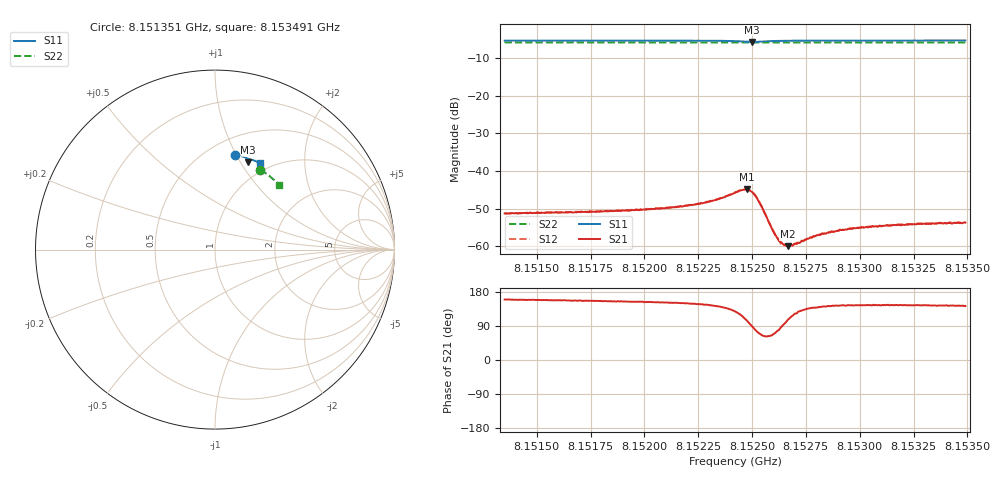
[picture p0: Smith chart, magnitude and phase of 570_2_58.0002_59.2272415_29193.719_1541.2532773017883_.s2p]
#  HZ  S  RI  R  50.00
! Rohde & Schwarz Vector Network Analyzer
! Rohde-Schwarz,ZNB20-2Port,1311601062101988,3.16
! Created: UTC 3/21/2024, 1:15:52 AM
! freq[Hz]  re:S11  im:S11  re:S21  im:S21  re:S12  im:S12  re:S22  im:S22
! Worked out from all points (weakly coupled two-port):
!   401 points, 8.151351 GHz to 8.153491 GHz, reference 50 ohm
!   highest |S21| = -44.87 dB at 8.152474 GHz (marker M1); lowest = -59.9 dB at 8.152667 GHz (marker M2)
!   lowest |S11| = -5.7 dB at 8.152501 GHz (marker M3), VSWR 3.16, Z = 40.4 + j53.7 ohm
!   |S11| at or under -10 dB: nowhere
!   |S22| runs from -5.9 to -5.8 dB; largest |S21 - S12| = 0.00013
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8.1513509e9  0.114 0.5275  -0.00256 0.000957  -0.00259 0.00101  0.2531 0.4443
8.1517094e9  0.1391 0.522  -0.00264 0.00116  -0.00264 0.00118  0.2725 0.4321
8.1520679e9  0.1644 0.5149  -0.00281 0.00149  -0.00281 0.00152  0.2914 0.4191
8.1521749e9  0.1724 0.5121  -0.00294 0.00168  -0.00294 0.00174  0.297 0.4151
8.1522819e9  0.1809 0.5082  -0.00317 0.00213  -0.00318 0.00218  0.3022 0.4108
8.1523354e9  0.1855 0.5053  -0.00331 0.00255  -0.00328 0.00259  0.3051 0.4086
8.152421e9  0.1922 0.4963  -0.0032 0.00406  -0.00317 0.00415  0.3094 0.405
8.1524477e9  0.1921 0.4914  -0.00269 0.00487  -0.0026 0.00494  0.3104 0.4037
8.1524745e9  0.1889 0.4867  -0.00148 0.00551  -0.00142 0.00554  0.3115 0.4027
8.1525012e9  0.1825 0.4857  0.000187 0.00525  0.000251 0.0053  0.3126 0.4016
8.1525173e9  0.1792 0.488  0.000966 0.00454  0.00102 0.00456  0.3133 0.4014
8.1525333e9  0.1776 0.4914  0.00132 0.00365  0.00138 0.00369  0.3139 0.4006
8.1525922e9  0.1824 0.5007  0.000727 0.00156  0.000777 0.0016  0.3169 0.3988
8.1526243e9  0.1865 0.5023  0.000234 0.00118  0.00025 0.00119  0.3188 0.3976
8.1526457e9  0.189 0.5026  -5.92e-05 0.00106  -5.3e-05 0.00103  0.3199 0.3966
8.1526671e9  0.1914 0.5027  -0.000287 0.000966  -0.000247 0.000979  0.321 0.3957
8.1526938e9  0.1941 0.5027  -0.000525 0.000925  -0.000521 0.000934  0.3223 0.3947
8.1527794e9  0.2018 0.5011  -0.000984 0.000886  -0.000935 0.000914  0.3266 0.3911
8.1528597e9  0.2084 0.4993  -0.0012 0.000936  -0.00122 0.000977  0.3304 0.3878
8.1529185e9  0.2125 0.4979  -0.00135 0.000974  -0.00131 0.00101  0.3333 0.3851
8.1531379e9  0.2278 0.4919  -0.00153 0.00111  -0.00155 0.0011  0.3434 0.3756
8.153491e9  0.2507 0.4814  -0.00165 0.00126  -0.00165 0.00128  0.3592 0.3598
